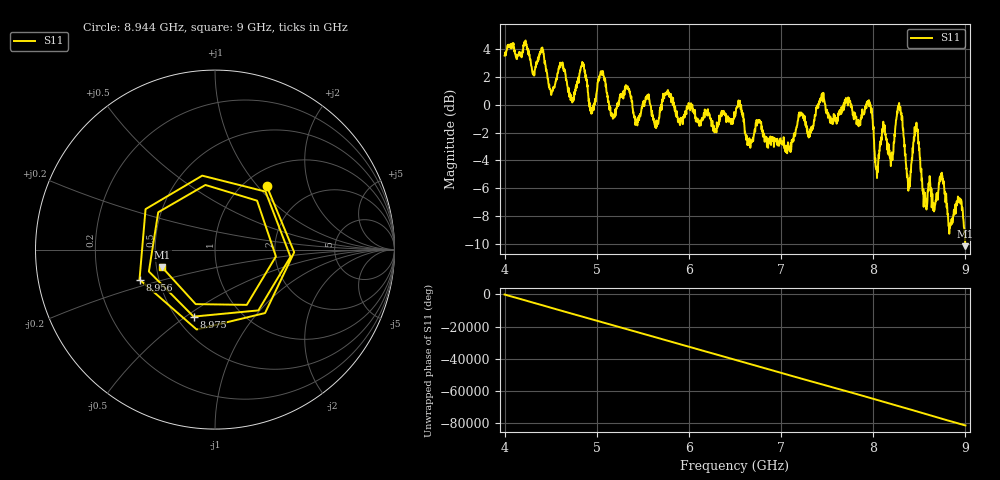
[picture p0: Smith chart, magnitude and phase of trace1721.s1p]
! Created with skrf 1.8.0 (http://scikit-rf.org).
# Hz S RI R 50.0
!freq ReS11 ImS11
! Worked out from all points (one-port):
!   1601 points, 4 GHz to 9 GHz, reference 50 ohm
!   lowest |S11| = -10.2 dB at 9 GHz (marker M1), VSWR 1.90, Z = 26.8 - j5.87 ohm
!   |S11| at or under -10 dB: 8.998528 GHz to end of sweep
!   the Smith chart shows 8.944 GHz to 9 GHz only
!   S11 on the Smith chart (normalised r, x): 8.944 GHz: 1.25, +1.12; 8.956 GHz: 0.39, -0.16; 8.975 GHz: 0.61, -0.54; 9 GHz: 0.54, -0.12
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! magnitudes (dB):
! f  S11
! 4 GHz  3.5
! 4.403 GHz  4.0
! 4.512 GHz  0.9
! 4.625 GHz  2.8
! 4.725 GHz  0.4
! 4.847 GHz  3.0
! 4.944 GHz  -0.6
! 5.05 GHz  2.4
! 5.172 GHz  -0.7
! 5.25 GHz  0.6
! 5.875 GHz  -0.9
! 6.5 GHz  -0.6
! 7.125 GHz  -2.7
! 7.441 GHz  0.7
! 7.75 GHz  0.3
! 7.956 GHz  -0.1
! 8.041 GHz  -5.3
! 8.112 GHz  -1.6
! 8.203 GHz  -3.6
! 8.291 GHz  -0.2
! 8.375 GHz  -5.4
! 8.466 GHz  -1.6
! 8.562 GHz  -6.3
! 8.838 GHz  -8.7
! 8.944 GHz  -6.8
! 8.956 GHz  -6.9
! 8.975 GHz  -8.1
! 9 GHz  -10.2
